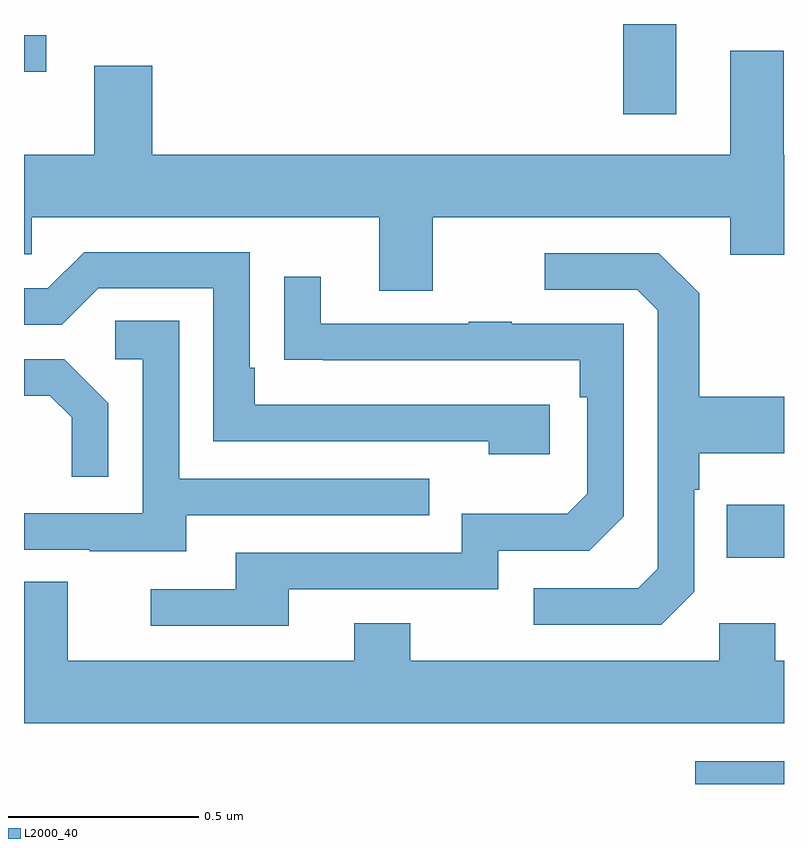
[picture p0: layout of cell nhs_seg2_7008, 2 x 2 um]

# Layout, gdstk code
import gdstk
lib = gdstk.Library(unit=1e-6, precision=1e-09)
def R(c, l, rs):  # rectangles x0, y0, x1, y1
    for r in rs: c.add(gdstk.rectangle(r[:2], r[2:], *l))
def P(c, l, *ps):  # polygons
    for p in ps: c.add(gdstk.Polygon(p, *l))
L2000_40 = (2000, 40)

nhs_seg2_7008 = lib.new_cell('nhs_seg2_7008')
R(nhs_seg2_7008, L2000_40, [(199.766,656.8,200,656.86), (199.849,657.395,200,657.535), (199.577,658.563,199.717,658.8), (198,658.674,198.058,658.77)])
P(nhs_seg2_7008, L2000_40, [(199.075,658.292),(199.859,658.292),(199.859,658.193),(200,658.193),(200,658.456),(199.999,658.456),(199.999,658.729),(199.859,658.729),(199.859,658.456),(198.338,658.456),(198.338,658.69),(198.185,658.69),(198.185,658.456),(198,658.456),(198,658.194),(198.021,658.194),(198.021,658.292),(198.935,658.292),(198.935,658.098),(199.075,658.098)],
  [(199.384,657.798),(198.607,657.798),(198.607,657.895),(198.594,657.895),(198.594,658.2),(198.159,658.2),(198.063,658.104),(198,658.104),(198,658.008),(198.099,658.008),(198.195,658.104),(198.498,658.104),(198.498,657.702),(199.223,657.702),(199.223,657.668),(199.384,657.668)],
  [(199.764,657.306),(199.764,657.575),(199.777,657.575),(199.777,657.671),(200,657.671),(200,657.819),(199.777,657.819),(199.777,658.091),(199.671,658.197),(199.371,658.197),(199.371,658.101),(199.614,658.101),(199.668,658.047),(199.668,657.366),(199.617,657.315),(199.341,657.315),(199.341,657.219),(199.677,657.219)],
  [(198.697,657.312),(199.248,657.312),(199.248,657.414),(199.488,657.414),(199.578,657.504),(199.578,658.011),(199.283,658.011),(199.283,658.016),(199.171,658.016),(199.171,658.011),(198.781,658.011),(198.781,658.135),(198.685,658.135),(198.685,657.916),(198.787,657.916),(198.787,657.915),(199.462,657.915),(199.462,657.818),(199.482,657.818),(199.482,657.564),(199.429,657.511),(199.152,657.511),(199.152,657.408),(198.557,657.408),(198.557,657.312),(198.333,657.312),(198.333,657.216),(198.697,657.216)],
  [(198.427,657.507),(199.067,657.507),(199.067,657.603),(198.408,657.603),(198.408,658.019),(198.24,658.019),(198.24,657.918),(198.312,657.918),(198.312,657.513),(198,657.513),(198,657.417),(198.173,657.417),(198.173,657.413),(198.427,657.413)],
  [(198.222,657.802),(198.106,657.918),(198,657.918),(198,657.822),(198.068,657.822),(198.125,657.765),(198.125,657.609),(198.222,657.609)],
  [(200,657.124),(199.977,657.124),(199.977,657.223),(199.83,657.223),(199.83,657.124),(199.017,657.124),(199.017,657.223),(198.869,657.223),(198.869,657.124),(198.115,657.124),(198.115,657.332),(198,657.332),(198,656.96),(200,656.96)])

lib.write_gds('nhs_seg2_7008.gds')
